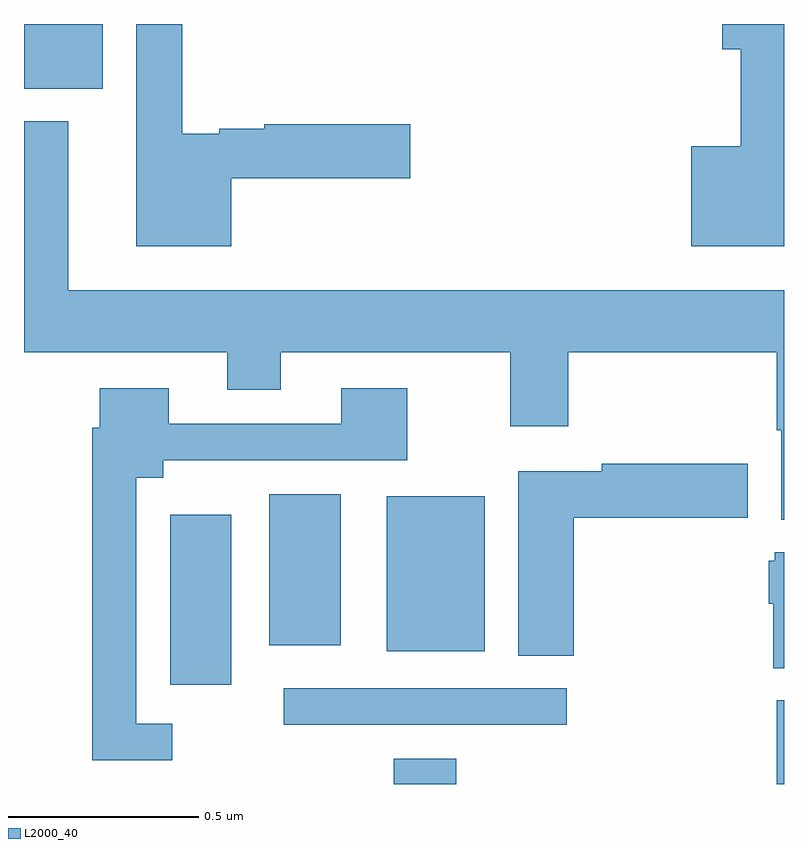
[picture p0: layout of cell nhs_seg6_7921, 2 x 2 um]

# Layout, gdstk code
import gdstk
lib = gdstk.Library(unit=1e-6, precision=1e-09)
def R(c, l, rs):  # rectangles x0, y0, x1, y1
    for r in rs: c.add(gdstk.rectangle(r[:2], r[2:], *l))
def P(c, l, *ps):  # polygons
    for p in ps: c.add(gdstk.Polygon(p, *l))
L2000_40 = (2000, 40)

nhs_seg6_7921 = lib.new_cell('nhs_seg6_7921')
R(nhs_seg6_7921, L2000_40, [(214.973,979.5,215.138,979.567), (215.981,979.5,216,979.72), (214.683,979.656,215.428,979.752), (214.385,979.761,214.546,980.209), (214.955,979.85,215.212,980.257), (214.646,979.865,214.834,980.263), (214,981.329,214.207,981.5)])
P(nhs_seg6_7921, L2000_40, [(216,981.5),(215.837,981.5),(215.837,981.434),(215.886,981.434),(215.886,981.178),(215.756,981.178),(215.756,980.915),(216,980.915)],
  [(214.546,981.094),(215.017,981.094),(215.017,981.236),(214.632,981.236),(214.632,981.224),(214.514,981.224),(214.514,981.211),(214.417,981.211),(214.417,981.5),(214.295,981.5),(214.295,980.915),(214.546,980.915)],
  [(216,980.8),(214.117,980.8),(214.117,981.244),(214,981.244),(214,980.636),(214.535,980.636),(214.535,980.537),(214.675,980.537),(214.675,980.636),(215.279,980.636),(215.279,980.442),(215.432,980.442),(215.432,980.636),(215.981,980.636),(215.981,980.431),(215.993,980.431),(215.993,980.195),(216,980.195)],
  [(214.39,979.659),(214.296,979.659),(214.296,980.306),(214.366,980.306),(214.366,980.352),(215.008,980.352),(215.008,980.542),(214.835,980.542),(214.835,980.448),(214.381,980.448),(214.381,980.542),(214.199,980.542),(214.199,980.438),(214.18,980.438),(214.18,979.563),(214.39,979.563)],
  [(215.447,980.201),(215.905,980.201),(215.905,980.343),(215.52,980.343),(215.52,980.323),(215.3,980.323),(215.3,979.837),(215.447,979.837)],
  [(216,980.11),(215.976,980.11),(215.976,980.088),(215.96,980.088),(215.96,979.974),(215.972,979.974),(215.972,979.805),(216,979.805)])

lib.write_gds('nhs_seg6_7921.gds')
